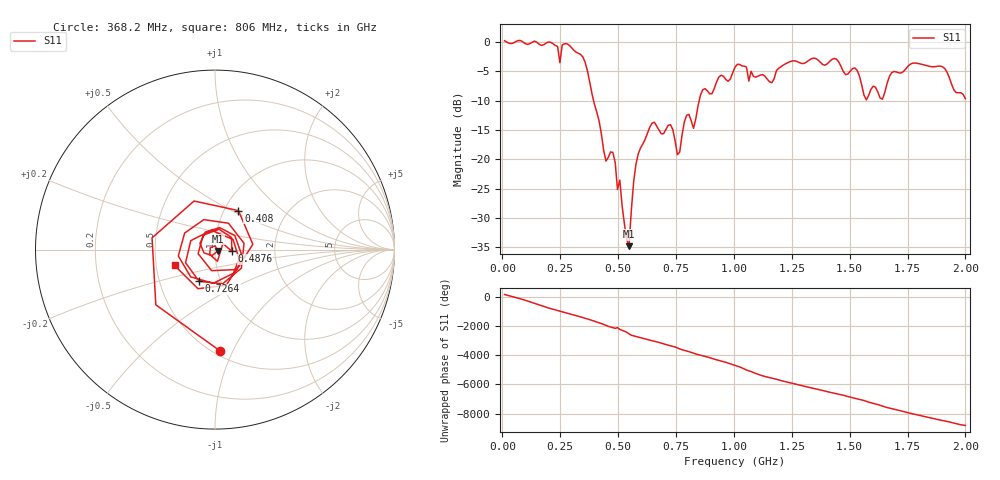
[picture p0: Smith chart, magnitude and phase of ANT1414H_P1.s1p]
!Created with skrf (http://scikit-rf.org).
# Hz S RI R 50.0
!freq ReS11 ImS11
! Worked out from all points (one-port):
!   201 points, 10 MHz to 2 GHz, reference 50 ohm
!   lowest |S11| = -34.8 dB at 547.3 MHz (marker M1), VSWR 1.04, Z = 51.7 - j0.77 ohm
!   |S11| at or under -10 dB: 394.4 MHz to 850.2 MHz (455.8 MHz wide, 73.3 % of centre)
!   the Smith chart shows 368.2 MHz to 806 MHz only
!   S11 on the Smith chart (normalised r, x): 368.2 MHz: 0.54, -0.89; 408 MHz: 1.17, +0.54; 487.6 MHz: 1.21, -0.02; 726.4 MHz: 0.79, -0.29; 806 MHz: 0.62, -0.12
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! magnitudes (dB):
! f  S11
! 10 MHz  0.2
! 209 MHz  0.0
! 248.8 MHz  -3.5
! 258.8 MHz  -0.5
! 368.2 MHz  -5.0
! 408 MHz  -11.9
! 447.8 MHz  -20.3
! 487.6 MHz  -20.5
! 497.6 MHz  -25.1
! 507.5 MHz  -23.5
! 547.3 MHz  -34.8
! 567.2 MHz  -23.9
! 587.1 MHz  -19.1
! 646.8 MHz  -13.8
! 726.4 MHz  -14.1
! 756.2 MHz  -19.2
! 806 MHz  -12.3
! 825.9 MHz  -14.7
! 865.7 MHz  -8.1
! 1.005 GHz  -4.3
! 1.164 GHz  -6.9
! 1.254 GHz  -3.2
! 1.502 GHz  -5.0
! 1.572 GHz  -9.8
! 1.642 GHz  -9.7
! 1.751 GHz  -4.1
! 1.901 GHz  -4.2
! 2 GHz  -9.6
